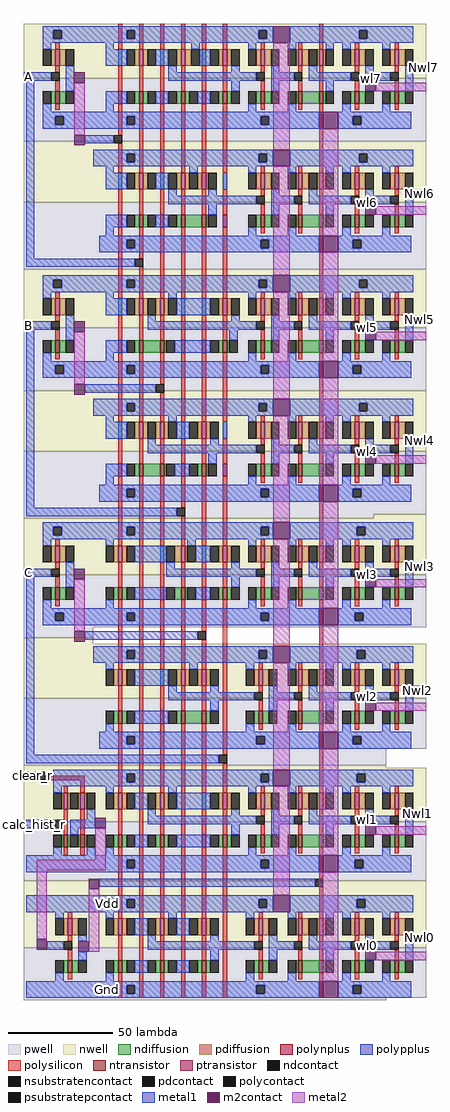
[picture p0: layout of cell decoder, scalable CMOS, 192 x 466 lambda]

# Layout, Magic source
magic
tech scmos
<< nwell >>
rect -98 405 94 431
rect -98 346 94 375
rect -98 286 94 314
rect -98 227 94 256
rect 69 195 94 197
rect -98 168 94 195
rect -98 135 -65 138
rect -98 109 94 135
rect -98 76 75 77
rect -98 50 94 76
rect -98 -10 94 22
<< pwell >>
rect -98 375 94 405
rect -98 314 94 346
rect -98 256 94 286
rect -98 197 94 227
rect -98 195 69 197
rect -98 143 94 168
rect -98 138 -65 143
rect -98 85 94 109
rect -98 77 75 85
rect -98 22 94 50
rect -98 -34 94 -10
rect -98 -35 75 -34
<< ntransistor >>
rect -83 393 -81 399
rect -43 393 -41 399
rect -23 393 -21 399
rect -3 393 -1 399
rect 15 393 17 399
rect 33 393 35 399
rect 43 393 45 399
rect 60 393 62 399
rect 79 393 81 399
rect -43 334 -41 340
rect -23 334 -21 340
rect -13 334 -11 340
rect 15 334 17 340
rect 33 334 35 340
rect 43 334 45 340
rect 60 334 62 340
rect 79 334 81 340
rect -83 274 -81 280
rect -43 274 -41 280
rect -33 274 -31 280
rect -3 274 -1 280
rect 15 274 17 280
rect 33 274 35 280
rect 43 274 45 280
rect 60 274 62 280
rect 79 274 81 280
rect -43 215 -41 221
rect -33 215 -31 221
rect -13 215 -11 221
rect 15 215 17 221
rect 33 215 35 221
rect 43 215 45 221
rect 60 215 62 221
rect 79 215 81 221
rect -83 156 -81 162
rect -53 156 -51 162
rect -53 97 -51 103
rect -79 38 -77 44
rect -71 38 -69 44
rect -53 38 -51 44
rect -77 -22 -75 -16
rect -53 -22 -51 -16
rect -23 156 -21 162
rect -3 156 -1 162
rect 15 156 17 162
rect 33 156 35 162
rect 43 156 45 162
rect 60 156 62 162
rect 79 156 81 162
rect -23 97 -21 103
rect -13 97 -11 103
rect -33 38 -31 44
rect -33 -22 -31 -16
rect 14 97 16 103
rect 33 97 35 103
rect 43 97 45 103
rect 60 97 62 103
rect 79 97 81 103
rect -3 38 -1 44
rect 15 38 17 44
rect 33 38 35 44
rect 43 38 45 44
rect 60 38 62 44
rect 79 38 81 44
rect -13 -22 -11 -16
rect 14 -22 16 -16
rect 33 -22 35 -16
rect 43 -22 45 -16
rect 60 -22 62 -16
rect 79 -22 81 -16
<< ptransistor >>
rect -83 411 -81 419
rect -43 411 -41 419
rect -23 411 -21 419
rect -3 411 -1 419
rect 15 411 17 419
rect 33 411 35 419
rect 43 411 45 419
rect 60 411 62 419
rect 79 411 81 419
rect -43 352 -41 360
rect -23 352 -21 360
rect -13 352 -11 360
rect 15 352 17 360
rect 33 352 35 360
rect 43 352 45 360
rect 60 352 62 360
rect 79 352 81 360
rect -83 292 -81 300
rect -43 292 -41 300
rect -33 292 -31 300
rect -3 292 -1 300
rect 15 292 17 300
rect 33 292 35 300
rect 43 292 45 300
rect 60 292 62 300
rect 79 292 81 300
rect -43 233 -41 241
rect -33 233 -31 241
rect -13 233 -11 241
rect 15 233 17 241
rect 33 233 35 241
rect 43 233 45 241
rect 60 233 62 241
rect 79 233 81 241
rect -83 174 -81 182
rect -53 174 -51 182
rect -53 115 -51 123
rect -79 56 -77 64
rect -71 56 -69 64
rect -53 56 -51 64
rect -77 -4 -75 4
rect -53 -4 -51 4
rect -23 174 -21 182
rect -3 174 -1 182
rect 15 174 17 182
rect 33 174 35 182
rect 43 174 45 182
rect 60 174 62 182
rect 79 174 81 182
rect -23 115 -21 123
rect -13 115 -11 123
rect -33 56 -31 64
rect -33 -4 -31 4
rect 14 115 16 123
rect 33 115 35 123
rect 43 115 45 123
rect 60 115 62 123
rect 79 115 81 123
rect -3 56 -1 64
rect 15 56 17 64
rect 33 56 35 64
rect 43 56 45 64
rect 60 56 62 64
rect 79 56 81 64
rect -13 -4 -11 4
rect 14 -4 16 4
rect 33 -4 35 4
rect 43 -4 45 4
rect 60 -4 62 4
rect 79 -4 81 4
<< ndiffusion >>
rect -85 393 -83 399
rect -81 393 -78 399
rect -45 393 -43 399
rect -41 393 -39 399
rect -25 393 -23 399
rect -21 393 -19 399
rect -5 393 -3 399
rect -1 393 1 399
rect 13 393 15 399
rect 17 393 20 399
rect 32 393 33 399
rect 35 393 43 399
rect 45 393 46 399
rect 58 393 60 399
rect 62 393 65 399
rect 77 393 79 399
rect 81 393 84 399
rect -45 334 -43 340
rect -41 334 -39 340
rect -25 334 -23 340
rect -21 334 -13 340
rect -11 334 -10 340
rect 13 334 15 340
rect 17 334 20 340
rect 32 334 33 340
rect 35 334 43 340
rect 45 334 46 340
rect 58 334 60 340
rect 62 334 65 340
rect 77 334 79 340
rect 81 334 84 340
rect -85 274 -83 280
rect -81 274 -78 280
rect -45 274 -43 280
rect -41 274 -33 280
rect -31 274 -30 280
rect -5 274 -3 280
rect -1 274 0 280
rect 13 274 15 280
rect 17 274 20 280
rect 32 274 33 280
rect 35 274 43 280
rect 45 274 46 280
rect 58 274 60 280
rect 62 274 65 280
rect 77 274 79 280
rect 81 274 84 280
rect -45 215 -43 221
rect -41 215 -33 221
rect -31 215 -30 221
rect -15 215 -13 221
rect -11 215 -10 221
rect 13 215 15 221
rect 17 215 20 221
rect 32 215 33 221
rect 35 215 43 221
rect 45 215 46 221
rect 58 215 60 221
rect 62 215 65 221
rect 77 215 79 221
rect 81 215 84 221
rect -85 156 -83 162
rect -81 156 -78 162
rect -55 156 -53 162
rect -51 156 -49 162
rect -55 97 -53 103
rect -51 97 -49 103
rect -80 38 -79 44
rect -77 38 -76 44
rect -72 38 -71 44
rect -69 38 -68 44
rect -55 38 -53 44
rect -51 38 -49 44
rect -79 -22 -77 -16
rect -75 -22 -72 -16
rect -55 -22 -53 -16
rect -51 -22 -49 -16
rect -26 156 -23 162
rect -21 156 -20 162
rect -5 156 -3 162
rect -1 156 1 162
rect 13 156 15 162
rect 17 156 20 162
rect 32 156 33 162
rect 35 156 43 162
rect 45 156 46 162
rect 58 156 60 162
rect 62 156 65 162
rect 77 156 79 162
rect 81 156 84 162
rect -25 97 -23 103
rect -21 97 -13 103
rect -11 97 -9 103
rect -35 38 -33 44
rect -31 38 -29 44
rect -35 -22 -33 -16
rect -31 -22 -29 -16
rect 12 97 14 103
rect 16 97 19 103
rect 32 97 33 103
rect 35 97 43 103
rect 45 97 46 103
rect 58 97 60 103
rect 62 97 65 103
rect 77 97 79 103
rect 81 97 84 103
rect -5 38 -3 44
rect -1 38 1 44
rect 13 38 15 44
rect 17 38 20 44
rect 32 38 33 44
rect 35 38 43 44
rect 45 38 46 44
rect 58 38 60 44
rect 62 38 65 44
rect 77 38 79 44
rect 81 38 84 44
rect -15 -22 -13 -16
rect -11 -22 -9 -16
rect 12 -22 14 -16
rect 16 -22 19 -16
rect 32 -22 33 -16
rect 35 -22 43 -16
rect 45 -22 46 -16
rect 58 -22 60 -16
rect 62 -22 65 -16
rect 77 -22 79 -16
rect 81 -22 84 -16
<< pdiffusion >>
rect -85 411 -83 419
rect -81 411 -78 419
rect -45 411 -43 419
rect -41 411 -39 419
rect -25 411 -23 419
rect -21 411 -18 419
rect -5 411 -3 419
rect -1 411 1 419
rect 13 411 15 419
rect 17 411 20 419
rect 32 411 33 419
rect 35 411 38 419
rect 42 411 43 419
rect 45 411 46 419
rect 58 411 60 419
rect 62 411 65 419
rect 77 411 79 419
rect 81 411 84 419
rect -45 352 -43 360
rect -41 352 -39 360
rect -25 352 -23 360
rect -21 352 -19 360
rect -15 352 -13 360
rect -11 352 -10 360
rect 13 352 15 360
rect 17 352 20 360
rect 32 352 33 360
rect 35 352 38 360
rect 42 352 43 360
rect 45 352 46 360
rect 58 352 60 360
rect 62 352 65 360
rect 77 352 79 360
rect 81 352 84 360
rect -85 292 -83 300
rect -81 292 -78 300
rect -45 292 -43 300
rect -41 292 -39 300
rect -35 292 -33 300
rect -31 292 -29 300
rect -5 292 -3 300
rect -1 292 1 300
rect 13 292 15 300
rect 17 292 20 300
rect 32 292 33 300
rect 35 292 38 300
rect 42 292 43 300
rect 45 292 46 300
rect 58 292 60 300
rect 62 292 65 300
rect 77 292 79 300
rect 81 292 84 300
rect -45 233 -43 241
rect -41 233 -39 241
rect -35 233 -33 241
rect -31 233 -29 241
rect -15 233 -13 241
rect -11 233 -9 241
rect 13 233 15 241
rect 17 233 20 241
rect 32 233 33 241
rect 35 233 38 241
rect 42 233 43 241
rect 45 233 46 241
rect 58 233 60 241
rect 62 233 65 241
rect 77 233 79 241
rect 81 233 84 241
rect -85 174 -83 182
rect -81 174 -78 182
rect -55 174 -53 182
rect -51 174 -49 182
rect -55 115 -53 123
rect -51 115 -49 123
rect -80 56 -79 64
rect -77 56 -76 64
rect -72 56 -71 64
rect -69 56 -68 64
rect -55 56 -53 64
rect -51 56 -49 64
rect -79 -4 -77 4
rect -75 -4 -72 4
rect -55 -4 -53 4
rect -51 -4 -49 4
rect -26 174 -23 182
rect -21 174 -20 182
rect -5 174 -3 182
rect -1 174 1 182
rect 13 174 15 182
rect 17 174 20 182
rect 32 174 33 182
rect 35 174 38 182
rect 42 174 43 182
rect 45 174 46 182
rect 58 174 60 182
rect 62 174 65 182
rect 77 174 79 182
rect 81 174 84 182
rect -25 115 -23 123
rect -21 115 -19 123
rect -15 115 -13 123
rect -11 115 -9 123
rect -35 56 -33 64
rect -31 56 -29 64
rect -35 -4 -33 4
rect -31 -4 -29 4
rect 12 115 14 123
rect 16 115 19 123
rect 32 115 33 123
rect 35 115 38 123
rect 42 115 43 123
rect 45 115 46 123
rect 58 115 60 123
rect 62 115 65 123
rect 77 115 79 123
rect 81 115 84 123
rect -5 56 -3 64
rect -1 56 1 64
rect 13 56 15 64
rect 17 56 20 64
rect 32 56 33 64
rect 35 56 38 64
rect 42 56 43 64
rect 45 56 46 64
rect 58 56 60 64
rect 62 56 65 64
rect 77 56 79 64
rect 81 56 84 64
rect -15 -4 -13 4
rect -11 -4 -9 4
rect 12 -4 14 4
rect 16 -4 19 4
rect 32 -4 33 4
rect 35 -4 38 4
rect 42 -4 43 4
rect 45 -4 46 4
rect 58 -4 60 4
rect 62 -4 65 4
rect 77 -4 79 4
rect 81 -4 84 4
<< ndcontact >>
rect -89 393 -85 399
rect -78 393 -74 399
rect -49 393 -45 399
rect -39 393 -35 399
rect -29 393 -25 399
rect -19 393 -15 399
rect -9 393 -5 399
rect 1 393 5 399
rect 9 393 13 399
rect 20 393 24 399
rect 28 393 32 399
rect 46 393 50 399
rect 54 393 58 399
rect 65 393 69 399
rect 73 393 77 399
rect 84 393 88 399
rect -49 334 -45 340
rect -39 334 -35 340
rect -29 334 -25 340
rect -10 334 -6 340
rect 9 334 13 340
rect 20 334 24 340
rect 28 334 32 340
rect 46 334 50 340
rect 54 334 58 340
rect 65 334 69 340
rect 73 334 77 340
rect 84 334 88 340
rect -89 274 -85 280
rect -78 274 -74 280
rect -49 274 -45 280
rect -30 274 -26 280
rect -9 274 -5 280
rect 0 274 4 280
rect 9 274 13 280
rect 20 274 24 280
rect 28 274 32 280
rect 46 274 50 280
rect 54 274 58 280
rect 65 274 69 280
rect 73 274 77 280
rect 84 274 88 280
rect -49 215 -45 221
rect -30 215 -26 221
rect -19 215 -15 221
rect -10 215 -6 221
rect 9 215 13 221
rect 20 215 24 221
rect 28 215 32 221
rect 46 215 50 221
rect 54 215 58 221
rect 65 215 69 221
rect 73 215 77 221
rect 84 215 88 221
rect -89 156 -85 162
rect -78 156 -74 162
rect -59 156 -55 162
rect -49 156 -45 162
rect -59 97 -55 103
rect -49 97 -45 103
rect -84 38 -80 44
rect -76 38 -72 44
rect -68 38 -64 44
rect -59 38 -55 44
rect -49 38 -45 44
rect -83 -22 -79 -16
rect -72 -22 -68 -16
rect -59 -22 -55 -16
rect -49 -22 -45 -16
rect -30 156 -26 162
rect -20 156 -16 162
rect -9 156 -5 162
rect 1 156 5 162
rect 9 156 13 162
rect 20 156 24 162
rect 28 156 32 162
rect 46 156 50 162
rect 54 156 58 162
rect 65 156 69 162
rect 73 156 77 162
rect 84 156 88 162
rect -29 97 -25 103
rect -9 97 -5 103
rect -39 38 -35 44
rect -29 38 -25 44
rect -39 -22 -35 -16
rect -29 -22 -25 -16
rect 8 97 12 103
rect 19 97 23 103
rect 28 97 32 103
rect 46 97 50 103
rect 54 97 58 103
rect 65 97 69 103
rect 73 97 77 103
rect 84 97 88 103
rect -9 38 -5 44
rect 1 38 5 44
rect 9 38 13 44
rect 20 38 24 44
rect 28 38 32 44
rect 46 38 50 44
rect 54 38 58 44
rect 65 38 69 44
rect 73 38 77 44
rect 84 38 88 44
rect -19 -22 -15 -16
rect -9 -22 -5 -16
rect 8 -22 12 -16
rect 19 -22 23 -16
rect 28 -22 32 -16
rect 46 -22 50 -16
rect 54 -22 58 -16
rect 65 -22 69 -16
rect 73 -22 77 -16
rect 84 -22 88 -16
<< pdcontact >>
rect -89 411 -85 419
rect -78 411 -74 419
rect -49 411 -45 419
rect -39 411 -35 419
rect -29 411 -25 419
rect -18 411 -14 419
rect -9 411 -5 419
rect 1 411 5 419
rect 9 411 13 419
rect 20 411 24 419
rect 28 411 32 419
rect 38 411 42 419
rect 46 411 50 419
rect 54 411 58 419
rect 65 411 69 419
rect 73 411 77 419
rect 84 411 88 419
rect -49 352 -45 360
rect -39 352 -35 360
rect -29 352 -25 360
rect -19 352 -15 360
rect -10 352 -6 360
rect 9 352 13 360
rect 20 352 24 360
rect 28 352 32 360
rect 38 352 42 360
rect 46 352 50 360
rect 54 352 58 360
rect 65 352 69 360
rect 73 352 77 360
rect 84 352 88 360
rect -89 292 -85 300
rect -78 292 -74 300
rect -49 292 -45 300
rect -39 292 -35 300
rect -29 292 -25 300
rect -9 292 -5 300
rect 1 292 5 300
rect 9 292 13 300
rect 20 292 24 300
rect 28 292 32 300
rect 38 292 42 300
rect 46 292 50 300
rect 54 292 58 300
rect 65 292 69 300
rect 73 292 77 300
rect 84 292 88 300
rect -49 233 -45 241
rect -39 233 -35 241
rect -29 233 -25 241
rect -19 233 -15 241
rect -9 233 -5 241
rect 9 233 13 241
rect 20 233 24 241
rect 28 233 32 241
rect 38 233 42 241
rect 46 233 50 241
rect 54 233 58 241
rect 65 233 69 241
rect 73 233 77 241
rect 84 233 88 241
rect -89 174 -85 182
rect -78 174 -74 182
rect -59 174 -55 182
rect -49 174 -45 182
rect -59 115 -55 123
rect -49 115 -45 123
rect -84 56 -80 64
rect -76 56 -72 64
rect -68 56 -64 64
rect -59 56 -55 64
rect -49 56 -45 64
rect -83 -4 -79 4
rect -72 -4 -68 4
rect -59 -4 -55 4
rect -49 -4 -45 4
rect -30 174 -26 182
rect -20 174 -16 182
rect -9 174 -5 182
rect 1 174 5 182
rect 9 174 13 182
rect 20 174 24 182
rect 28 174 32 182
rect 38 174 42 182
rect 46 174 50 182
rect 54 174 58 182
rect 65 174 69 182
rect 73 174 77 182
rect 84 174 88 182
rect -29 115 -25 123
rect -19 115 -15 123
rect -9 115 -5 123
rect -39 56 -35 64
rect -29 56 -25 64
rect -39 -4 -35 4
rect -29 -4 -25 4
rect 8 115 12 123
rect 19 115 23 123
rect 28 115 32 123
rect 38 115 42 123
rect 46 115 50 123
rect 54 115 58 123
rect 65 115 69 123
rect 73 115 77 123
rect 84 115 88 123
rect -9 56 -5 64
rect 1 56 5 64
rect 9 56 13 64
rect 20 56 24 64
rect 28 56 32 64
rect 38 56 42 64
rect 46 56 50 64
rect 54 56 58 64
rect 65 56 69 64
rect 73 56 77 64
rect 84 56 88 64
rect -19 -4 -15 4
rect -9 -4 -5 4
rect 8 -4 12 4
rect 19 -4 23 4
rect 28 -4 32 4
rect 38 -4 42 4
rect 46 -4 50 4
rect 54 -4 58 4
rect 65 -4 69 4
rect 73 -4 77 4
rect 84 -4 88 4
<< psubstratepcontact >>
rect -83 383 -79 387
rect -49 383 -45 387
rect 15 383 19 387
rect 59 383 63 387
rect -49 324 -45 328
rect -83 264 -79 268
rect -49 264 -45 268
rect 15 324 19 328
rect 59 324 63 328
rect 15 264 19 268
rect 59 264 63 268
rect -49 205 -45 209
rect -83 146 -79 150
rect -49 146 -45 150
rect -49 87 -45 91
rect -49 28 -45 32
rect -49 -32 -45 -28
rect 15 205 19 209
rect 59 205 63 209
rect 15 146 19 150
rect 60 146 64 150
rect 13 87 17 91
rect 59 87 63 91
rect 15 28 19 32
rect 60 28 64 32
rect 13 -32 17 -28
rect 59 -32 63 -28
<< nsubstratencontact >>
rect -84 424 -80 428
rect -49 424 -45 428
rect 14 424 18 428
rect 62 424 66 428
rect -49 365 -45 369
rect 14 365 18 369
rect 62 365 66 369
rect -84 305 -80 309
rect -49 305 -45 309
rect -49 246 -45 250
rect 14 305 18 309
rect 62 305 66 309
rect 14 246 18 250
rect 62 246 66 250
rect -84 187 -80 191
rect -49 187 -45 191
rect -49 128 -45 132
rect -49 69 -45 73
rect -49 9 -45 13
rect 15 187 19 191
rect 61 187 65 191
rect 14 128 18 132
rect 61 128 65 132
rect 15 69 19 73
rect 61 69 65 73
rect 14 9 18 13
rect 61 9 65 13
<< polysilicon >>
rect -83 419 -81 422
rect -53 419 -51 431
rect -43 419 -41 431
rect -33 419 -31 431
rect -23 419 -21 431
rect -13 419 -11 431
rect -3 419 -1 431
rect 15 419 17 422
rect 33 419 35 422
rect 43 419 45 431
rect 60 419 62 422
rect 79 419 81 422
rect -83 408 -81 411
rect -83 399 -81 404
rect -53 399 -51 411
rect -43 399 -41 411
rect -33 399 -31 411
rect -23 399 -21 411
rect -13 399 -11 411
rect -3 399 -1 411
rect 15 408 17 411
rect 33 408 35 411
rect 15 399 17 404
rect 33 399 35 404
rect 43 399 45 411
rect 60 408 62 411
rect 79 408 81 411
rect 60 399 62 404
rect 79 399 81 404
rect -83 390 -81 393
rect -53 378 -51 393
rect -53 360 -51 374
rect -43 360 -41 393
rect -33 360 -31 393
rect -23 360 -21 393
rect -13 360 -11 393
rect -3 360 -1 393
rect 15 390 17 393
rect 33 390 35 393
rect 15 360 17 363
rect 33 360 35 363
rect 43 360 45 393
rect 60 390 62 393
rect 79 390 81 393
rect 60 360 62 363
rect 79 360 81 363
rect -53 340 -51 352
rect -43 340 -41 352
rect -33 340 -31 352
rect -23 340 -21 352
rect -13 340 -11 352
rect -3 340 -1 352
rect 15 349 17 352
rect 33 349 35 352
rect 15 340 17 345
rect 33 340 35 345
rect 43 340 45 352
rect 60 349 62 352
rect 79 349 81 352
rect 60 340 62 345
rect 79 340 81 345
rect -83 300 -81 303
rect -53 300 -51 334
rect -43 319 -41 334
rect -43 300 -41 315
rect -33 300 -31 334
rect -23 300 -21 334
rect -83 289 -81 292
rect -83 280 -81 285
rect -53 280 -51 292
rect -43 280 -41 292
rect -33 280 -31 292
rect -23 280 -21 292
rect -83 271 -81 274
rect -53 241 -51 274
rect -43 241 -41 274
rect -33 259 -31 274
rect -33 241 -31 255
rect -23 241 -21 274
rect -13 300 -11 334
rect -3 300 -1 334
rect 15 331 17 334
rect 33 331 35 334
rect 15 300 17 303
rect 33 300 35 303
rect 43 300 45 334
rect 60 331 62 334
rect 79 331 81 334
rect 60 300 62 303
rect 79 300 81 303
rect -13 280 -11 292
rect -3 280 -1 292
rect 15 289 17 292
rect 33 289 35 292
rect 15 280 17 285
rect 33 280 35 285
rect 43 280 45 292
rect 60 289 62 292
rect 79 289 81 292
rect 60 280 62 285
rect 79 280 81 285
rect -13 241 -11 274
rect -3 241 -1 274
rect 15 271 17 274
rect 33 271 35 274
rect 15 241 17 244
rect 33 241 35 244
rect 43 241 45 274
rect 60 271 62 274
rect 79 271 81 274
rect 60 241 62 244
rect 79 241 81 244
rect -53 221 -51 233
rect -43 221 -41 233
rect -33 221 -31 233
rect -23 221 -21 233
rect -13 221 -11 233
rect -3 221 -1 233
rect 15 230 17 233
rect 33 230 35 233
rect 15 221 17 226
rect 33 221 35 226
rect 43 221 45 233
rect 60 230 62 233
rect 79 230 81 233
rect 60 221 62 226
rect 79 221 81 226
rect -83 182 -81 185
rect -53 182 -51 215
rect -83 171 -81 174
rect -83 162 -81 167
rect -53 162 -51 174
rect -83 153 -81 156
rect -53 123 -51 156
rect -53 103 -51 115
rect -88 70 -69 72
rect -79 64 -77 67
rect -71 64 -69 70
rect -53 64 -51 97
rect -79 44 -77 56
rect -71 44 -69 56
rect -53 44 -51 56
rect -79 34 -77 38
rect -71 34 -69 38
rect -77 4 -75 7
rect -53 4 -51 38
rect -77 -7 -75 -4
rect -77 -16 -75 -11
rect -53 -16 -51 -4
rect -77 -25 -75 -22
rect -53 -34 -51 -22
rect -43 -34 -41 215
rect -33 182 -31 215
rect -23 200 -21 215
rect -23 182 -21 196
rect -13 182 -11 215
rect -3 182 -1 215
rect 15 212 17 215
rect 33 212 35 215
rect 15 182 17 185
rect 33 182 35 185
rect 43 182 45 215
rect 60 212 62 215
rect 79 212 81 215
rect 60 182 62 185
rect 79 182 81 185
rect -33 162 -31 174
rect -23 162 -21 174
rect -13 162 -11 174
rect -3 162 -1 174
rect 15 171 17 174
rect 33 171 35 174
rect 15 162 17 167
rect 33 162 35 167
rect 43 162 45 174
rect 60 171 62 174
rect 79 171 81 174
rect 60 162 62 167
rect 79 162 81 167
rect -33 123 -31 156
rect -23 123 -21 156
rect -13 141 -11 156
rect -13 123 -11 137
rect -33 103 -31 115
rect -23 103 -21 115
rect -13 103 -11 115
rect -33 64 -31 97
rect -33 44 -31 56
rect -33 4 -31 38
rect -33 -16 -31 -4
rect -33 -34 -31 -22
rect -23 -34 -21 97
rect -13 64 -11 97
rect -3 82 -1 156
rect 15 153 17 156
rect 33 153 35 156
rect 14 123 16 126
rect 33 123 35 126
rect 43 123 45 156
rect 60 153 62 156
rect 79 153 81 156
rect 60 123 62 126
rect 79 123 81 126
rect 14 112 16 115
rect 33 112 35 115
rect 14 103 16 108
rect 33 103 35 108
rect 43 103 45 115
rect 60 112 62 115
rect 79 112 81 115
rect 60 103 62 108
rect 79 103 81 108
rect 14 94 16 97
rect 33 94 35 97
rect -3 64 -1 78
rect 15 64 17 67
rect 33 64 35 67
rect 43 64 45 97
rect 60 94 62 97
rect 79 94 81 97
rect 60 64 62 67
rect 79 64 81 67
rect -13 44 -11 56
rect -3 44 -1 56
rect 15 53 17 56
rect 33 53 35 56
rect 15 44 17 49
rect 33 44 35 49
rect 43 44 45 56
rect 60 53 62 56
rect 79 53 81 56
rect 60 44 62 49
rect 79 44 81 49
rect -13 4 -11 38
rect -13 -16 -11 -4
rect -13 -34 -11 -22
rect -3 -34 -1 38
rect 15 35 17 38
rect 33 35 35 38
rect 43 23 45 38
rect 60 35 62 38
rect 79 35 81 38
rect 14 4 16 7
rect 33 4 35 7
rect 43 4 45 19
rect 60 4 62 7
rect 79 4 81 7
rect 14 -7 16 -4
rect 33 -7 35 -4
rect 14 -16 16 -11
rect 33 -16 35 -11
rect 43 -16 45 -4
rect 60 -7 62 -4
rect 79 -7 81 -4
rect 60 -16 62 -11
rect 79 -16 81 -11
rect 14 -25 16 -22
rect 33 -25 35 -22
rect 43 -34 45 -22
rect 60 -25 62 -22
rect 79 -25 81 -22
<< polycontact >>
rect -85 404 -81 408
rect 13 404 17 408
rect 31 404 35 408
rect 58 404 62 408
rect 77 404 81 408
rect -55 374 -51 378
rect 13 345 17 349
rect 31 345 35 349
rect 58 345 62 349
rect 77 345 81 349
rect -45 315 -41 319
rect -85 285 -81 289
rect -35 255 -31 259
rect 13 285 17 289
rect 31 285 35 289
rect 58 285 62 289
rect 77 285 81 289
rect 13 226 17 230
rect 31 226 35 230
rect 58 226 62 230
rect 77 226 81 230
rect -85 167 -81 171
rect -92 70 -88 74
rect -83 47 -79 51
rect -79 -11 -75 -7
rect -25 196 -21 200
rect 13 167 17 171
rect 31 167 35 171
rect 58 167 62 171
rect 77 167 81 171
rect -15 137 -11 141
rect 12 108 16 112
rect 31 108 35 112
rect 58 108 62 112
rect 77 108 81 112
rect -5 78 -1 82
rect 13 49 17 53
rect 31 49 35 53
rect 58 49 62 53
rect 77 49 81 53
rect 41 19 45 23
rect 12 -11 16 -7
rect 31 -11 35 -7
rect 58 -11 62 -7
rect 77 -11 81 -7
<< polypplus >>
rect -53 411 -51 419
rect -33 411 -31 419
rect -13 411 -11 419
rect -53 352 -51 360
rect -33 352 -31 360
rect -3 352 -1 360
rect -53 292 -51 300
rect -23 292 -21 300
rect -13 292 -11 300
rect -53 233 -51 241
rect -23 233 -21 241
rect -3 233 -1 241
rect -33 174 -31 182
rect -13 174 -11 182
rect -33 115 -31 123
rect -13 56 -11 64
<< polynplus >>
rect -53 393 -51 399
rect -33 393 -31 399
rect -13 393 -11 399
rect -53 334 -51 340
rect -33 334 -31 340
rect -3 334 -1 340
rect -53 274 -51 280
rect -23 274 -21 280
rect -13 274 -11 280
rect -53 215 -51 221
rect -23 215 -21 221
rect -3 215 -1 221
rect -33 156 -31 162
rect -13 156 -11 162
rect -33 97 -31 103
rect -13 38 -11 44
<< metal1 >>
rect -89 428 21 430
rect -89 424 -84 428
rect -80 424 -49 428
rect -45 424 14 428
rect 18 424 21 428
rect -89 422 21 424
rect 29 428 88 430
rect 29 424 62 428
rect 66 424 88 428
rect 29 422 88 424
rect -89 419 -85 422
rect -59 419 -55 422
rect -18 419 -14 422
rect 9 419 13 422
rect 28 419 32 422
rect 46 419 50 422
rect -59 411 -49 419
rect -35 411 -29 419
rect -14 411 -9 419
rect 54 419 58 422
rect 73 419 77 422
rect -98 404 -85 408
rect -97 319 -93 404
rect -78 399 -74 411
rect -29 408 -25 411
rect 1 408 5 411
rect 20 408 24 411
rect 38 408 42 411
rect 65 408 69 411
rect 84 408 94 411
rect -29 404 13 408
rect 20 404 31 408
rect 38 404 58 408
rect 65 404 77 408
rect 1 399 5 404
rect 20 399 24 404
rect 46 399 50 404
rect 84 399 88 408
rect -59 393 -49 399
rect -35 393 -29 399
rect -15 393 -9 399
rect -89 389 -85 393
rect -59 389 -55 393
rect 9 389 13 393
rect 28 389 32 393
rect 54 389 58 393
rect 73 389 77 393
rect -89 387 43 389
rect -89 383 -83 387
rect -79 383 -49 387
rect -45 383 15 387
rect 19 383 43 387
rect -89 381 43 383
rect 52 387 87 389
rect 52 383 59 387
rect 63 383 87 387
rect 52 381 87 383
rect -69 374 -55 378
rect -65 369 21 371
rect -65 365 -49 369
rect -45 365 14 369
rect 18 365 21 369
rect -65 363 21 365
rect 29 369 88 371
rect 29 365 62 369
rect 66 365 88 369
rect 29 363 88 365
rect -59 360 -55 363
rect -19 360 -15 363
rect 9 360 13 363
rect 28 360 32 363
rect 46 360 50 363
rect -59 352 -49 360
rect -35 352 -29 360
rect 54 360 58 363
rect 73 360 77 363
rect -29 349 -25 352
rect -10 349 -6 352
rect 20 349 24 352
rect 38 349 42 352
rect 65 349 69 352
rect 84 349 94 352
rect -29 345 13 349
rect 20 345 31 349
rect 38 345 58 349
rect 65 345 77 349
rect -10 340 -6 345
rect 20 340 24 345
rect 46 340 50 345
rect 84 340 88 349
rect -59 334 -49 340
rect -35 334 -29 340
rect -59 330 -55 334
rect 9 330 13 334
rect 28 330 32 334
rect 54 330 58 334
rect 73 330 77 334
rect -62 328 43 330
rect -62 324 -49 328
rect -45 324 15 328
rect 19 324 43 328
rect -62 322 43 324
rect 52 328 87 330
rect 52 324 59 328
rect 63 324 87 328
rect 52 322 87 324
rect -97 315 -45 319
rect -89 309 21 311
rect -89 305 -84 309
rect -80 305 -49 309
rect -45 305 14 309
rect 18 305 21 309
rect -89 303 21 305
rect 29 309 88 311
rect 29 305 62 309
rect 66 305 88 309
rect 29 303 88 305
rect -89 300 -85 303
rect -59 300 -55 303
rect -29 300 -25 303
rect 9 300 13 303
rect 28 300 32 303
rect 46 300 50 303
rect -59 292 -49 300
rect -25 292 -9 300
rect 54 300 58 303
rect 73 300 77 303
rect -98 285 -85 289
rect -97 200 -93 285
rect -78 280 -74 292
rect -39 289 -35 292
rect 1 289 5 292
rect 20 289 24 292
rect 38 289 42 292
rect 65 289 69 292
rect 84 289 94 292
rect -39 285 13 289
rect 20 285 31 289
rect 38 285 58 289
rect 65 285 77 289
rect 0 280 4 285
rect 20 280 24 285
rect 46 280 50 285
rect 84 280 88 289
rect -59 274 -49 280
rect -26 274 -9 280
rect -89 270 -85 274
rect -59 270 -55 274
rect 9 270 13 274
rect 28 270 32 274
rect 54 270 58 274
rect 73 270 77 274
rect -89 268 43 270
rect -89 264 -83 268
rect -79 264 -49 268
rect -45 264 15 268
rect 19 264 43 268
rect -89 262 43 264
rect 52 268 87 270
rect 52 264 59 268
rect 63 264 87 268
rect 52 262 87 264
rect -69 255 -35 259
rect -65 250 21 252
rect -65 246 -49 250
rect -45 246 14 250
rect 18 246 21 250
rect -65 244 21 246
rect 29 250 88 252
rect 29 246 62 250
rect 66 246 88 250
rect 29 244 88 246
rect -59 241 -55 244
rect -29 241 -25 244
rect 9 241 13 244
rect 28 241 32 244
rect 46 241 50 244
rect -59 233 -49 241
rect -25 233 -19 241
rect 54 241 58 244
rect 73 241 77 244
rect -39 230 -35 233
rect -9 230 -5 233
rect 20 230 24 233
rect 38 230 42 233
rect 65 230 69 233
rect 84 230 94 233
rect -39 226 13 230
rect 20 226 31 230
rect 38 226 58 230
rect 65 226 77 230
rect -10 221 -6 226
rect 20 221 24 226
rect 46 221 50 226
rect 84 221 88 230
rect -59 215 -49 221
rect -26 215 -19 221
rect -59 211 -55 215
rect 9 211 13 215
rect 28 211 32 215
rect 54 211 58 215
rect 73 211 77 215
rect -62 209 43 211
rect -62 205 -49 209
rect -45 205 15 209
rect 19 205 43 209
rect -62 203 43 205
rect 52 209 87 211
rect 52 205 59 209
rect 63 205 87 209
rect 52 203 87 205
rect -97 196 -25 200
rect -89 191 21 193
rect -89 187 -84 191
rect -80 187 -49 191
rect -45 187 15 191
rect 19 187 21 191
rect -89 185 21 187
rect 29 191 88 193
rect 29 187 61 191
rect 65 187 88 191
rect 29 185 88 187
rect -89 182 -85 185
rect -59 182 -55 185
rect -20 182 -16 185
rect 9 182 13 185
rect 28 182 32 185
rect 46 182 50 185
rect -45 174 -30 182
rect -16 174 -9 182
rect 54 182 58 185
rect 73 182 77 185
rect -98 167 -85 171
rect -97 82 -93 167
rect -78 162 -74 174
rect -30 171 -26 174
rect 1 171 5 174
rect 20 171 24 174
rect 38 171 42 174
rect 65 171 69 174
rect 84 171 94 174
rect -30 167 13 171
rect 20 167 31 171
rect 38 167 58 171
rect 65 167 77 171
rect 1 162 5 167
rect 20 162 24 167
rect 46 162 50 167
rect 84 162 88 171
rect -45 156 -30 162
rect -16 156 -9 162
rect -89 152 -85 156
rect -59 152 -55 156
rect 9 152 13 156
rect 28 152 32 156
rect 54 152 58 156
rect 73 152 77 156
rect -89 150 43 152
rect -89 146 -83 150
rect -79 146 -49 150
rect -45 146 15 150
rect 19 146 43 150
rect -89 144 43 146
rect 52 150 87 152
rect 52 146 60 150
rect 64 146 87 150
rect 52 144 87 146
rect -69 137 -15 141
rect -65 132 21 134
rect -65 128 -49 132
rect -45 128 14 132
rect 18 128 21 132
rect -65 126 21 128
rect 29 132 88 134
rect 29 128 61 132
rect 65 128 88 132
rect 29 126 88 128
rect -59 123 -55 126
rect -19 123 -15 126
rect 8 123 12 126
rect 28 123 32 126
rect 46 123 50 126
rect -45 115 -29 123
rect 54 123 58 126
rect 73 123 77 126
rect -29 112 -25 115
rect -9 112 -5 115
rect 19 112 23 115
rect 38 112 42 115
rect 65 112 69 115
rect 84 112 94 115
rect -29 108 12 112
rect 19 108 31 112
rect 38 108 58 112
rect 65 108 77 112
rect -9 103 -5 108
rect 19 103 23 108
rect 46 103 50 108
rect 84 103 88 112
rect -45 97 -29 103
rect -59 93 -55 97
rect 8 93 12 97
rect 28 93 32 97
rect 54 93 58 97
rect 73 93 77 97
rect -62 91 43 93
rect -62 87 -49 91
rect -45 87 13 91
rect 17 87 43 91
rect -62 85 43 87
rect 52 91 87 93
rect 52 87 59 91
rect 63 87 87 91
rect 52 85 87 87
rect -97 78 -5 82
rect -97 70 -92 74
rect -84 73 21 75
rect -84 69 -49 73
rect -45 69 15 73
rect 19 69 21 73
rect -84 67 21 69
rect 29 73 88 75
rect 29 69 61 73
rect 65 69 88 73
rect 29 67 88 69
rect -84 64 -80 67
rect -59 64 -55 67
rect -29 64 -25 67
rect 9 64 13 67
rect 28 64 32 67
rect 46 64 50 67
rect -45 56 -39 64
rect -25 56 -9 64
rect 54 64 58 67
rect 73 64 77 67
rect -68 51 -64 56
rect -39 53 -35 56
rect 1 53 5 56
rect 20 53 24 56
rect 38 53 42 56
rect 65 53 69 56
rect 84 53 94 56
rect -97 47 -83 51
rect -76 47 -64 51
rect -39 49 13 53
rect 20 49 31 53
rect 38 49 58 53
rect 65 49 77 53
rect -76 44 -72 47
rect 1 44 5 49
rect 20 44 24 49
rect 46 44 50 49
rect 84 44 88 53
rect -84 34 -80 38
rect -68 34 -64 38
rect -45 38 -39 44
rect -25 38 -9 44
rect -59 34 -55 38
rect 9 34 13 38
rect 28 34 32 38
rect 54 34 58 38
rect 73 34 77 38
rect -97 32 43 34
rect -97 28 -49 32
rect -45 28 15 32
rect 19 28 43 32
rect -97 26 43 28
rect 52 32 87 34
rect 52 28 60 32
rect 64 28 87 32
rect 52 26 87 28
rect -62 19 41 23
rect -97 13 21 15
rect -97 9 -49 13
rect -45 9 14 13
rect 18 9 21 13
rect -97 7 21 9
rect 29 13 88 15
rect 29 9 61 13
rect 65 9 88 13
rect 29 7 88 9
rect -83 4 -79 7
rect -59 4 -55 7
rect -29 4 -25 7
rect 8 4 12 7
rect 28 4 32 7
rect 46 4 50 7
rect -45 -4 -39 4
rect -25 -4 -19 4
rect 54 4 58 7
rect 73 4 77 7
rect -72 -7 -68 -4
rect -39 -7 -35 -4
rect -9 -7 -5 -4
rect 19 -7 23 -4
rect 38 -7 42 -4
rect 65 -7 69 -4
rect 84 -7 94 -4
rect -87 -11 -79 -7
rect -39 -11 12 -7
rect 19 -11 31 -7
rect 38 -11 58 -7
rect 65 -11 77 -7
rect -72 -16 -68 -12
rect -9 -16 -5 -11
rect 19 -16 23 -11
rect 46 -16 50 -11
rect 84 -16 88 -7
rect -45 -22 -39 -16
rect -25 -22 -19 -16
rect -83 -26 -79 -22
rect -59 -26 -55 -22
rect 8 -26 12 -22
rect 28 -26 32 -22
rect 54 -26 58 -22
rect 73 -26 77 -22
rect -97 -28 43 -26
rect -97 -32 -49 -28
rect -45 -32 13 -28
rect 17 -32 43 -28
rect -97 -34 43 -32
rect 52 -28 87 -26
rect 52 -32 59 -28
rect 63 -32 87 -28
rect 52 -34 87 -32
<< m2contact >>
rect 21 422 29 430
rect -74 403 -69 408
rect 65 399 70 404
rect 43 381 52 389
rect -74 373 -69 378
rect 21 363 29 371
rect 65 340 70 345
rect 43 322 52 330
rect 21 303 29 311
rect -74 284 -69 289
rect 65 280 70 285
rect 43 262 52 270
rect -74 254 -69 259
rect 21 244 29 252
rect 65 221 70 226
rect 43 203 52 211
rect 21 185 29 193
rect -74 166 -69 171
rect 65 162 70 167
rect 43 144 52 152
rect -74 136 -69 141
rect 21 126 29 134
rect 65 103 70 108
rect 43 85 52 93
rect 21 67 29 75
rect -64 47 -59 52
rect 65 44 70 49
rect 43 26 52 34
rect -67 18 -62 23
rect 21 7 29 15
rect -92 -11 -87 -6
rect -72 -12 -67 -7
rect 65 -16 70 -11
rect 43 -34 52 -26
<< metal2 >>
rect -74 378 -69 403
rect 21 371 29 422
rect 70 399 94 403
rect 21 311 29 363
rect -74 259 -69 284
rect 21 252 29 303
rect 21 193 29 244
rect -74 141 -69 166
rect 21 134 29 185
rect 21 75 29 126
rect -64 32 -59 47
rect -92 27 -59 32
rect -92 -6 -87 27
rect -67 -12 -62 18
rect 21 15 29 67
rect 43 330 52 381
rect 70 340 94 344
rect 43 270 52 322
rect 70 280 94 284
rect 43 211 52 262
rect 70 221 94 225
rect 43 152 52 203
rect 70 162 94 166
rect 43 93 52 144
rect 70 103 94 107
rect 43 34 52 85
rect 70 44 94 48
rect 43 -26 52 26
rect 70 -16 94 -12
<< labels >>
rlabel metal1 66 346 66 346 1 wl6
rlabel metal1 68 405 68 405 1 wl7
rlabel metal1 -96 406 -96 406 3 A
rlabel metal1 66 286 66 286 1 wl5
rlabel metal1 -96 287 -96 287 3 B
rlabel metal1 66 168 66 168 1 wl3
rlabel metal1 66 227 66 227 1 wl4
rlabel metal1 -96 169 -96 169 3 C
rlabel metal1 66 110 66 110 1 wl2
rlabel metal1 66 51 66 51 1 wl1
rlabel metal1 93 410 93 410 7 Nwl7
rlabel metal1 91 350 91 350 7 Nwl6
rlabel metal1 91 290 91 290 7 Nwl5
rlabel metal1 91 232 91 232 7 Nwl4
rlabel metal1 91 172 91 172 7 Nwl3
rlabel metal1 90 113 90 113 7 Nwl2
rlabel metal1 90 54 90 54 7 Nwl1
rlabel metal1 -58 11 -58 11 1 Vdd
rlabel metal1 -58 -30 -58 -30 1 Gnd
rlabel metal1 66 -9 66 -9 1 wl0
rlabel metal1 91 -5 91 -5 7 Nwl0
rlabel metal1 -94 72 -94 72 3 clear_r
rlabel metal1 -93 49 -93 49 3 calc_hist_r
<< end >>
